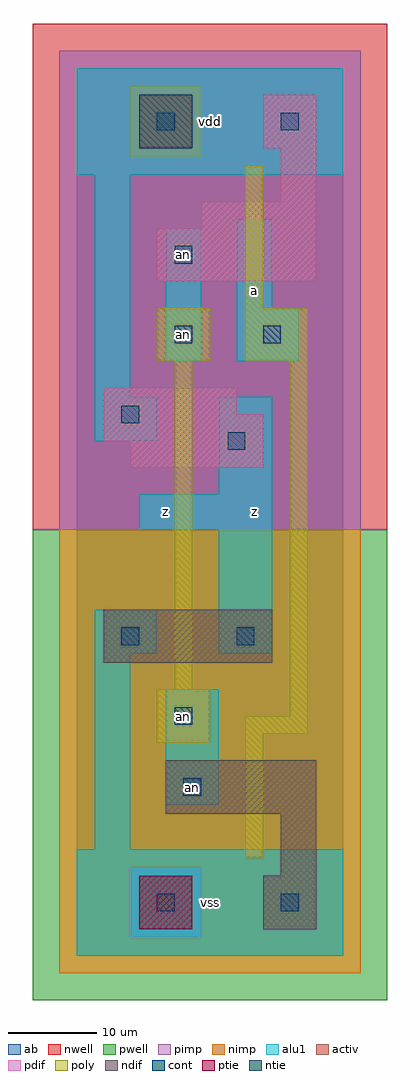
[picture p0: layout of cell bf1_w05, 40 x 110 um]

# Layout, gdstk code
import gdstk
lib = gdstk.Library(unit=1e-6, precision=1e-09)
def R(c, l, rs):  # rectangles x0, y0, x1, y1
    for r in rs: c.add(gdstk.rectangle(r[:2], r[2:], *l))
ndif = (3, 0)
pdif = (4, 0)
ntie = (5, 0)
ptie = (6, 0)
cont = (25, 0)
pwell = (41, 0)
nwell = (42, 0)
activ = (43, 0)
pimp = (44, 0)
nimp = (45, 0)
poly = (46, 0)
alu1 = (49, 0)
ab = (63, 0)

bf1_w05 = lib.new_cell('bf1_w05')
R(bf1_w05, ndif, [(21,3,27,9), (23,9,27,16), (10,16,27,22), (3,33,22,39)])
R(bf1_w05, pdif, [(6,55,21,58), (3,58,21,61), (3,61,18,64), (9,76,27,82), (14,82,27,85), (23,85,27,91), (21,91,27,97)])
R(bf1_w05, ntie, [(7,91,13,97)])
R(bf1_w05, ptie, [(7,3,13,9)])
R(bf1_w05, cont, [(9,5,11,7), (23,5,25,7), (12,18,14,20), (11,26,13,28), (5,35,7,37), (18,35,20,37), (17,57,19,59), (5,60,7,62), (11,69,13,71), (21,69,23,71), (11,78,13,80), (9,93,11,95), (23,93,25,95)])
R(bf1_w05, pwell, [(-5,-5,35,48)])
R(bf1_w05, nwell, [(-5,48,35,105)])
R(bf1_w05, activ, [(7,3,13,9), (21,3,27,9), (23,9,27,16), (10,16,27,22), (3,33,22,39), (6,55,21,58), (3,58,21,61), (3,61,18,64), (9,76,27,82), (14,82,27,85), (23,85,27,91), (7,91,13,97), (21,91,27,97)])
R(bf1_w05, pimp, [(6,2,14,10), (-2,48,32,90), (-2,90,6,98), (14,90,32,98), (-2,98,32,102)])
R(bf1_w05, nimp, [(-2,-2,32,2), (-2,2,6,10), (14,2,32,10), (-2,10,32,48), (6,90,14,98)])
R(bf1_w05, poly, [(19,11,21,25), (9,24,15,30), (19,25,26,27), (24,27,26,67), (11,30,13,67), (9,67,15,73), (19,67,26,73), (19,73,21,89)])
R(bf1_w05, alu1, [(0,0,30,12), (2,12,6,34), (10,17,16,30), (2,34,9,39), (16,34,22,48), (7,48,22,52), (16,52,22,63), (2,58,9,63), (2,63,6,88), (10,67,14,82), (18,67,25,73), (18,73,22,83), (0,88,30,100)])
R(bf1_w05, ab, [(0,0,30,100)])
bf1_w05.add(gdstk.Label('an', (12,27), layer=49, texttype=0))
bf1_w05.add(gdstk.Label('an', (13,19), layer=49, texttype=0))
bf1_w05.add(gdstk.Label('an', (12,79), layer=49, texttype=0))
bf1_w05.add(gdstk.Label('an', (12,70), layer=49, texttype=0))
bf1_w05.add(gdstk.Label('z', (10,50), layer=49, texttype=0))
bf1_w05.add(gdstk.Label('vss', (15,6), layer=49, texttype=0))
bf1_w05.add(gdstk.Label('z', (20,50), layer=49, texttype=0))
bf1_w05.add(gdstk.Label('a', (20,75), layer=49, texttype=0))
bf1_w05.add(gdstk.Label('vdd', (15,94), layer=49, texttype=0))

lib.write_gds('bf1_w05.gds')
